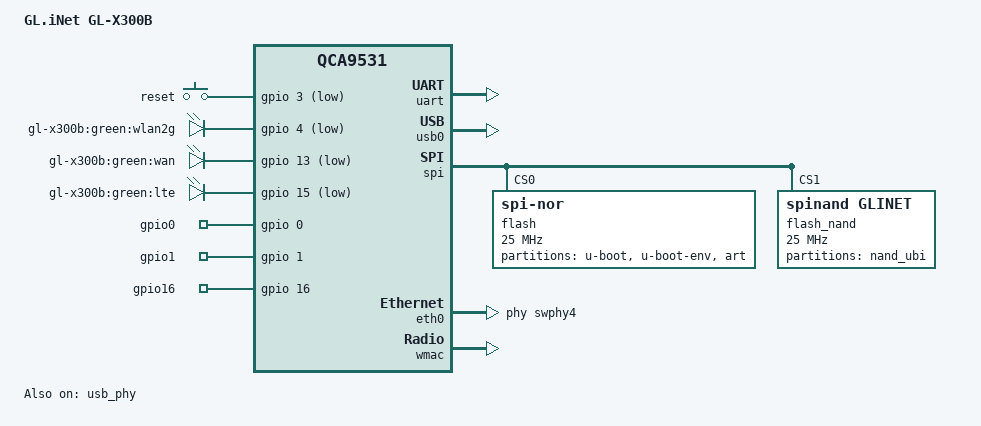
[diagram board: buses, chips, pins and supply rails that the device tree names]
// SPDX-License-Identifier: GPL-2.0-or-later OR MIT
/dts-v1/;

#include <dt-bindings/gpio/gpio.h>
#include <dt-bindings/input/input.h>

#include "qca953x.dtsi"

/ {
	compatible = "glinet,gl-x300b", "qca,qca9531";
	model = "GL.iNet GL-X300B";

	keys {
		compatible = "gpio-keys-polled";

		poll-interval = <20>;
		pinctrl-names = "default";
		pinctrl-0 = <&jtag_disable_pins>;

		button0 {
			label = "reset";
			linux,code = <KEY_RESTART>;
			gpios = <&gpio 3 GPIO_ACTIVE_LOW>;
		};
	};

	leds {
		compatible = "gpio-leds";

		wlan2g {
			label = "gl-x300b:green:wlan2g";
			gpios = <&gpio 4 GPIO_ACTIVE_LOW>;
			linux,default-trigger = "phy0tpt";
		};

		wan {
			label = "gl-x300b:green:wan";
			gpios = <&gpio 13 GPIO_ACTIVE_LOW>;
		};

		lte {
			label = "gl-x300b:green:lte";
			gpios = <&gpio 15 GPIO_ACTIVE_LOW>;
		};
	};
    gpio-export {
		compatible = "gpio-export";

		gpio_lte_power {
			gpio-export,name = "gpio0";
			gpio-export,output = <0>;
			gpios = <&gpio 0 GPIO_ACTIVE_HIGH>;
		};

		gpio_rs485tx_en {
			gpio-export,name = "gpio1";
			gpio-export,output = <0>;
			gpios = <&gpio 1 GPIO_ACTIVE_HIGH>;
		};

		gpio_ble_rst {
			gpio-export,name = "gpio16";
			gpio-export,output = <0>;
			gpios = <&gpio 16 GPIO_ACTIVE_HIGH>;
		};

    };
    watchdog {
        compatible = "hw_wdt";
        dog_en_gpio= <12>;
        feed_dog_gpio=<2>;
        feed_dog_interval=<100000000>;
    };

};


&uart {
	status = "okay";
    rs485_pin=<1>;
};

&usb0 {
	#address-cells = <1>;
	#size-cells = <0>;
	status = "okay";

	hub_port: port@1 {
		reg = <1>;
		#trigger-source-cells = <0>;
	};
};

&usb_phy {
	status = "okay";
};

&spi {
	status = "okay";
	num-cs = <2>;
	cs-gpios = <0>, <0>;

	flash@0 {
		compatible = "jedec,spi-nor";
		reg = <0>;
		spi-max-frequency = <25000000>;

		nor_partitions: partitions {
			compatible = "fixed-partitions";
			#address-cells = <1>;
			#size-cells = <1>;

			partition@0 {
				label = "u-boot";
				reg = <0x000000 0x040000>;
				read-only;
			};

			partition@40000 {
				label = "u-boot-env";
				reg = <0x040000 0x010000>;
			};

			art: partition@50000 {
				label = "art";
				reg = <0x050000 0x010000>;
				read-only;
			};
		};
	};

	flash_nand: flash@1 {
		compatible = "spinand,glinet";
		reg = <1>;
		spi-max-frequency = <25000000>;

		nand_partitions: partitions {
			compatible = "fixed-partitions";
			#address-cells = <1>;
			#size-cells = <1>;

			nand_ubi: partition@0 {
				label = "nand_ubi";
				reg = <0x000000 0x8000000>;
			};
		};
	};

};
/*
&bootargs {
	bootargs="";
};*/

&eth0 {
	status = "okay";
	mtd-mac-address = <&art 0x0>;
	phy-handle = <&swphy4>;
	ifname = "eth0";
};

&eth1 {
	mtd-mac-address = <&art 0x0>;
	mtd-mac-address-increment = <1>;
	ifname = "eth1";
};

&wmac {
	status = "okay";
	mtd-cal-data = <&art 0x1000>;
	mtd-mac-address = <&art 0x1002>;
};
